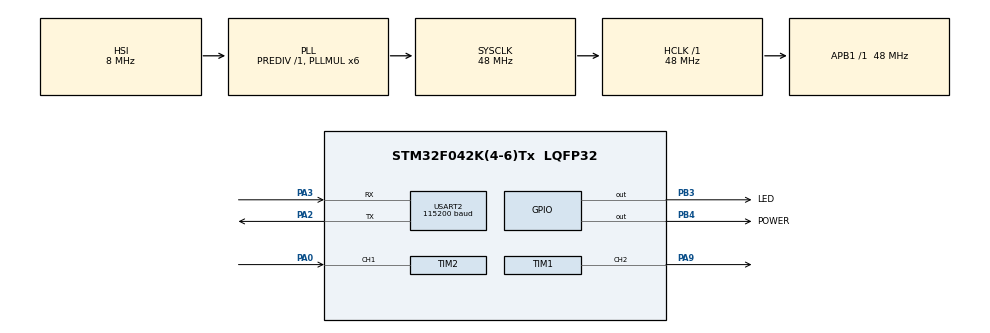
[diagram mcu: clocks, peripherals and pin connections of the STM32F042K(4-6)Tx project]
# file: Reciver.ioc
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Mcu.Family=STM32F0
Mcu.Name=STM32F042K(4-6)Tx
Mcu.Package=LQFP32
NVIC.TIM2_IRQn=true\:0\:0\:false\:false\:true\:true\:true
PA0.Signal=S_TIM2_CH1_ETR
PA2.Mode=Asynchronous
PA2.Signal=USART2_TX
PA3.Mode=Asynchronous
PA3.Signal=USART2_RX
PA9.Signal=S_TIM1_CH2
PB3.GPIO_Label=LED
PB3.PinState=GPIO_PIN_SET
PB3.Signal=GPIO_Output
PB4.GPIO_Label=POWER
PB4.PinState=GPIO_PIN_SET
PB4.Signal=GPIO_Output
ProjectManager.HeapSize=0x200
ProjectManager.StackSize=0x400
ProjectManager.TargetToolchain=STM32CubeIDE
RCC.AHBFreq_Value=48000000
RCC.APB1Freq_Value=48000000
RCC.APB1TimFreq_Value=48000000
RCC.HCLKFreq_Value=48000000
RCC.PLLMUL=RCC_PLL_MUL6
RCC.SYSCLKFreq_VALUE=48000000
RCC.SYSCLKSource=RCC_SYSCLKSOURCE_PLLCLK
SH.S_TIM1_CH2.0=TIM1_CH2,PWM Generation2 CH2
SH.S_TIM2_CH1_ETR.0=TIM2_CH1,Input_Capture1_from_TI1
TIM1.Channel-PWM\ Generation2\ CH2=TIM_CHANNEL_2
TIM1.Prescaler=1-1
TIM16.Prescaler=1-1
TIM2.Channel-Input_Capture1_from_TI1=TIM_CHANNEL_1
TIM2.Channel-Input_Capture2_from_TI1_63=TIM_CHANNEL_2
TIM2.ICPolarity_CH1=TIM_INPUTCHANNELPOLARITY_FALLING
TIM2.Prescaler=1-1
USART2.BaudRate=115200
USART2.VirtualMode-Asynchronous=VM_ASYNC
VP_TIM16_VS_ClockSourceINT.Mode=Enable_Timer
VP_TIM1_VS_ClockSourceINT.Mode=Internal
VP_TIM2_VS_ClockSourceINT.Mode=Internal
VP_TIM2_VS_indirect_ch1.Mode=Input_Capture2_from_TI1_63
board=custom

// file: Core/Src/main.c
/* USER CODE BEGIN Header */
/**
 ******************************************************************************
 * @file           : main.c
 * @brief          : Main program body
 ******************************************************************************
 * @attention
 *
 * Copyright (c) 2022 STMicroelectronics.
 * All rights reserved.
 *
 * This software is licensed under terms that can be found in the LICENSE file
 * in the root directory of this software component.
 * If no LICENSE file comes with this software, it is provided AS-IS.
 *
 ******************************************************************************
 */
/* USER CODE END Header */
#include "main.h"

/* USER CODE BEGIN Includes */
#include <stdlib.h>
#include <string.h>
#include <stdio.h>

/* USER CODE END Includes */

/* USER CODE BEGIN PTD */
#define T 5000
#define COUNTER 5000
#define SYN 22
#define ACK 6

/* USER CODE END PTD */

TIM_HandleTypeDef htim1;
TIM_HandleTypeDef htim2;
TIM_HandleTypeDef htim16;

UART_HandleTypeDef huart2;

/* USER CODE BEGIN PV */

/*
 * <------------------ RECEIVER CODE ------------------------->
 */

void output(char *string) {
	char *buf = string;
	HAL_UART_Transmit(&huart2, buf, strlen(buf), 100);
}

/* ---------------to do list---------------
 * write else in capture callback
 * check working of algorithm on high speed ?????
 * check all kind of signals
 * 		- Long IDEL 3.3V +++
 * 		- Long IDEL 0V +++++
 * 		- rising from 0V without information (turning PWM transiver on) ++++
 * 		- falling down to zero (turning off transiver) ++++
 *		- etc
 * make code better &??
 * create byte LED
 * ---------------------------------------
 */

// use in CaptureCallback, PeriodElepsed and other functions
int callback_count = 0;
int bit_count = 0;
int *bit;
int connection = 0;

/* main function of device
 *
 * catch changing state of PWM channel
 * check period of signal to avoid interferences (should write else)
 * write rising times in bit array
 */
void HAL_TIM_IC_CaptureCallback(TIM_HandleTypeDef *htim) {
	if (htim == &htim2) {
		int falling_edge = 0;
		int rising_edge = 0;
//		output("From callback\r\n");
//		char buf[128] = { 0 };

		callback_count += 1;

		falling_edge = HAL_TIM_ReadCapturedValue(&htim2, TIM_CHANNEL_1);
		rising_edge = HAL_TIM_ReadCapturedValue(&htim2, TIM_CHANNEL_2);
//		sprintf(buf, "r - %d f - %d c - %d\r\n", rising_edge, falling_edge, callback_count);
//		HAL_UART_Transmit(&huart2, &buf, strlen(buf), -1);
		if (callback_count % 2 != 0 && callback_count != 1) {
			int period = rising_edge + falling_edge;
			if (period < T * 1.05 && period > T * 0.95) { // 10% gap for period
//				sprintf(buf, "r - %d\r\n", rising_edge);
//				HAL_UART_Transmit(&huart2, &buf, strlen(buf), -1);
				bit[bit_count] = rising_edge;
			}
			bit_count += 1;
		}

		TIM2->CNT = 0;
		TIM16->CNT = 0;

	}
}

void display_pwm_information(int *bit);
void start_finish_connection(void);

/*
 * function catch IDEL signal
 * IDEL signal then there is one period without capture callback
 * Use for reading last bit in signal
 *
 * AND display letter to user by display_pwm_information()
 *
 * 3 types of IDEL
 *
 * IDEL after catching 8 bit
 * function display letter
 *
 * IDEL after less 8 bit
 * function display error message
 *
 * IDEL without catching any bit
 * Timer run function every period with or without information
 * function do nothing in this case
 */
void HAL_TIM_PeriodElapsedCallback(TIM_HandleTypeDef *htim) {
	if (htim == &htim2) { // reading last bite of byte
		if (bit_count == 7 && callback_count > 1) {

//			sprintf(buf, "r - %d\r\n", HAL_TIM_ReadCapturedValue(&htim2, TIM_CHANNEL_2));
//			HAL_UART_Transmit(&huart2, &buf, strlen(buf), -1);

			bit[bit_count] = HAL_TIM_ReadCapturedValue(&htim2, TIM_CHANNEL_2);
			display_pwm_information(bit);

			bit_count = 0;
			callback_count = 0;
//			connection = 1;
		} else if (callback_count > 1 && bit_count < 7) { // when caught less then 8 bit before IDEL give message about lost byte
			output("#LOST BYTE#");
			if (callback_count % 2 != 0) {
//				start_finish_connection();
				bit_count = 0;
				callback_count = 0;
				connection = 0;
				output(" # Disconnect");
			} else {
//				connection = 1;
				bit_count = 0;
				callback_count = 0;
			}
		} else if (callback_count == 1) { // turning on/off transiver state of channel change 0V -> 3.3V / 3.3V -> 0V
//			start_finish_connection();
			if (connection == 1) {
				output(" # Disconnection\r\n");
				connection = 0;
			}
			bit_count = 0;
			callback_count = 0;
		} else
			// TIM run function every period ending
			return;
//		char buf[64] = { 0 };
//		sprintf(buf, "End of byte\r\n\r\n");
//		HAL_UART_Transmit(&huart2, &buf, strlen(buf), -1);
	}
}

/* function check on/off channel state and show user information
 * about connection or disconnection transiver
 */

//void start_finish_connection(void) {
//	bit_count = 0;
//	callback_count = 0;
//	if (connection == 0) { // transiver connected
//		char message[] = "\r\nConnected. Ready for recive.\r\n";
//		HAL_UART_Transmit(&huart2, &message, strlen(message), -1);
//		connection = 1;
//	} else { // transiver disconnected
//		char message[] = "\r\nDisconected. Bye.\r\n";
//		HAL_UART_Transmit(&huart2, &message, strlen(message), -1);
//		connection = 0;
//	}
//}

char rises_to_char(int*);

/* function display information from pwm signal to user with UART
 *
 * receives int array contain 8 rising times
 * convert rising times to char and display it
 *
 */
void display_pwm_information(int *bit) {
//	output("kek\r\n");
	char ch = rises_to_char(bit);
//	char buf[32] = { 0 };
//	sprintf(buf, " %d\r\n", ch);
//	HAL_UART_Transmit(&huart2, buf, strlen(buf), -1);
	if (ch == SYN) {
		output(" - Start connection...\r\n");
		connect();
		return;
	} else if (ch == ACK && connection == -1) {
		output(" - Device connected successfully\r\n");
		return;
		connection = 1;
	}
	HAL_UART_Transmit(&huart2, (uint8_t*) &ch, 1, -1);
}

/* function return char from 8 rising times array
 * bit - pointer to 8 rising times array contain 8 bits
 * If rising time more then 50% period then this is a 1, else 0
 */
char rises_to_char(int *bit) {
	char c = 0;
	for (int i = 0, rank = 128; i < 8 && rank > 0; i++, rank /= 2) {
		if (bit[i] > T * 0.5)
			c += rank;
	}
	return c;
}

//<------------------- END RECEIVER CODE ------------------->

//<------------------- TRANCIVER CODE ---------------------->

void togglepin(uint8_t value);
void delay(int delay);

void connect(void) {

//	turning off receiver timers
	HAL_TIM_IC_Stop_IT(&htim2, TIM_CHANNEL_1);
	HAL_TIM_IC_Stop_IT(&htim2, TIM_CHANNEL_2);
	delay(10 * T);
//	turning on tranceiver timers
	TIM1->ARR = COUNTER;
	TIM1->CCR2 = COUNTER + 1;
	HAL_TIM_PWM_Start(&htim1, TIM_CHANNEL_2);

	delay(10 * T);
	dec_to_bin(SYN);
	dec_to_bin(ACK);
	delay(10 * T);
//	turning off tranceiver timers
	HAL_TIM_PWM_Stop(&htim1, TIM_CHANNEL_2);
//	turning on receiver timers
	HAL_TIM_IC_Start_IT(&htim2, TIM_CHANNEL_1);
	HAL_TIM_IC_Start_IT(&htim2, TIM_CHANNEL_2);

	delay(10 * T);
	output(" - Wait\r\n");
	connection = -1;
}

void dec_to_bin(char ch) {
	for (char div = 128; div > 0; div /= 2) {
		if (ch >= div) {    // 1
			ch -= div;
			togglepin(1);
//			output("1\r\n");
		} else {
			togglepin(0);
//			output("0\r\n");
		}
	}
	delay(T);
}

void togglepin(uint8_t value) {
	//	turning off pin
	TIM1->CCR2 = 0;
	TIM1->CNT = COUNTER;
	if (value == 1) {
		delay(T * 0.8);
		//	turning on pin
		TIM1->CCR2 = COUNTER + 1;
		TIM1->CNT = COUNTER;
		delay(T * 0.2);
	} else if (value == 0) {
		delay(T * 0.2);
		//	turning on pin
		TIM1->CCR2 = COUNTER + 1;
		TIM1->CNT = COUNTER;
		delay(T * 0.8);
	} else
		return;
}

//<------------------- END TRANCIVER CODE ------------------>

// function provides delay (in 20 nanoseconds)
void delay(int delay) {
	if (delay > 0xFFFF)
		delay = 0xFFFF;
	(&htim16)->Instance->CNT = 0;
	while ((&htim16)->Instance->CNT < delay)
		;
}

/* USER CODE END PV */

void SystemClock_Config(void);
static void MX_GPIO_Init(void);
static void MX_USART2_UART_Init(void);
static void MX_TIM2_Init(void);
static void MX_TIM16_Init(void);
static void MX_TIM1_Init(void);

int main(void) {

	/* MCU Configuration--------------------------------------------------------*/

	/* Reset of all peripherals, Initializes the Flash interface and the Systick. */
	HAL_Init();

	/* Configure the system clock */
	SystemClock_Config();

	/* Initialize all configured peripherals */
	MX_GPIO_Init();
	MX_USART2_UART_Init();
	MX_TIM2_Init();
	MX_TIM16_Init();
	MX_TIM1_Init();
	/* USER CODE BEGIN 2 */
	//	timer for read values
	TIM2->ARR = T;
	HAL_TIM_IC_Start_IT(&htim2, TIM_CHANNEL_1);
	HAL_TIM_IC_Start_IT(&htim2, TIM_CHANNEL_2);

	// start TIM2 again to catch IDEL after empty period
	HAL_TIM_Base_Start_IT(&htim2);

	// Timer for calculating delays in micro or nano seconds
	HAL_TIM_Base_Start_IT(&htim16);

	/* USER CODE END 2 */

	/* Infinite loop */
	/* USER CODE BEGIN WHILE */

////	char input[128] = { 0 };
	output("Still working\r\n");
	bit = calloc(8, sizeof(int));
	if (bit == NULL) {
		char exit[] = "Memory end\r\n";
		HAL_UART_Transmit(&huart2, (uint8_t*) exit, strlen(exit), -1);
		return 1;
	}
	connection = 0;

	while (1) {
//		HAL_UART_Transmit(&huart2, &mesedge, strlen(mesedge), -1);
//		HAL_Delay(1000);

// delay for finding idel after transmission
//		delay(2 * T);
//		// after catching idel write last rising edge to bit array
//		if (TIM16->CNT > 2 * T)
//			bin[7] = rising_edge;
//		ch = bin_to_char(bin);
//		HAL_UART_Transmit(&huart2, (uint8_t*) &ch, 1, -1);
		/* USER CODE END WHILE */

	}
}

void SystemClock_Config(void) {
	RCC_OscInitTypeDef RCC_OscInitStruct = { 0 };
	RCC_ClkInitTypeDef RCC_ClkInitStruct = { 0 };

	/** Initializes the RCC Oscillators according to the specified parameters
	 * in the RCC_OscInitTypeDef structure.
	 */
	RCC_OscInitStruct.OscillatorType = RCC_OSCILLATORTYPE_HSI;
	RCC_OscInitStruct.HSIState = RCC_HSI_ON;
	RCC_OscInitStruct.HSICalibrationValue = RCC_HSICALIBRATION_DEFAULT;
	RCC_OscInitStruct.PLL.PLLState = RCC_PLL_ON;
	RCC_OscInitStruct.PLL.PLLSource = RCC_PLLSOURCE_HSI;
	RCC_OscInitStruct.PLL.PLLMUL = RCC_PLL_MUL6;
	RCC_OscInitStruct.PLL.PREDIV = RCC_PREDIV_DIV1;
	if (HAL_RCC_OscConfig(&RCC_OscInitStruct) != HAL_OK) {
		Error_Handler();
	}
	/** Initializes the CPU, AHB and APB buses clocks
	 */
	RCC_ClkInitStruct.ClockType = RCC_CLOCKTYPE_HCLK | RCC_CLOCKTYPE_SYSCLK
			| RCC_CLOCKTYPE_PCLK1;
	RCC_ClkInitStruct.SYSCLKSource = RCC_SYSCLKSOURCE_PLLCLK;
	RCC_ClkInitStruct.AHBCLKDivider = RCC_SYSCLK_DIV1;
	RCC_ClkInitStruct.APB1CLKDivider = RCC_HCLK_DIV1;

	if (HAL_RCC_ClockConfig(&RCC_ClkInitStruct, FLASH_LATENCY_1) != HAL_OK) {
		Error_Handler();
	}
}

static void MX_TIM1_Init(void) {

	TIM_ClockConfigTypeDef sClockSourceConfig = { 0 };
	TIM_MasterConfigTypeDef sMasterConfig = { 0 };
	TIM_OC_InitTypeDef sConfigOC = { 0 };
	TIM_BreakDeadTimeConfigTypeDef sBreakDeadTimeConfig = { 0 };

	htim1.Instance = TIM1;
	htim1.Init.Prescaler = 12 - 1;
	htim1.Init.CounterMode = TIM_COUNTERMODE_UP;
	htim1.Init.Period = 65535;
	htim1.Init.ClockDivision = TIM_CLOCKDIVISION_DIV1;
	htim1.Init.RepetitionCounter = 0;
	htim1.Init.AutoReloadPreload = TIM_AUTORELOAD_PRELOAD_DISABLE;
	if (HAL_TIM_Base_Init(&htim1) != HAL_OK) {
		Error_Handler();
	}
	sClockSourceConfig.ClockSource = TIM_CLOCKSOURCE_INTERNAL;
	if (HAL_TIM_ConfigClockSource(&htim1, &sClockSourceConfig) != HAL_OK) {
		Error_Handler();
	}
	if (HAL_TIM_PWM_Init(&htim1) != HAL_OK) {
		Error_Handler();
	}
	sMasterConfig.MasterOutputTrigger = TIM_TRGO_RESET;
	sMasterConfig.MasterSlaveMode = TIM_MASTERSLAVEMODE_DISABLE;
	if (HAL_TIMEx_MasterConfigSynchronization(&htim1, &sMasterConfig)
			!= HAL_OK) {
		Error_Handler();
	}
	sConfigOC.OCMode = TIM_OCMODE_PWM1;
	sConfigOC.Pulse = 0;
	sConfigOC.OCPolarity = TIM_OCPOLARITY_HIGH;
	sConfigOC.OCNPolarity = TIM_OCNPOLARITY_HIGH;
	sConfigOC.OCFastMode = TIM_OCFAST_DISABLE;
	sConfigOC.OCIdleState = TIM_OCIDLESTATE_RESET;
	sConfigOC.OCNIdleState = TIM_OCNIDLESTATE_RESET;
	if (HAL_TIM_PWM_ConfigChannel(&htim1, &sConfigOC, TIM_CHANNEL_2)
			!= HAL_OK) {
		Error_Handler();
	}
	sBreakDeadTimeConfig.OffStateRunMode = TIM_OSSR_DISABLE;
	sBreakDeadTimeConfig.OffStateIDLEMode = TIM_OSSI_DISABLE;
	sBreakDeadTimeConfig.LockLevel = TIM_LOCKLEVEL_OFF;
	sBreakDeadTimeConfig.DeadTime = 0;
	sBreakDeadTimeConfig.BreakState = TIM_BREAK_DISABLE;
	sBreakDeadTimeConfig.BreakPolarity = TIM_BREAKPOLARITY_HIGH;
	sBreakDeadTimeConfig.AutomaticOutput = TIM_AUTOMATICOUTPUT_DISABLE;
	if (HAL_TIMEx_ConfigBreakDeadTime(&htim1, &sBreakDeadTimeConfig)
			!= HAL_OK) {
		Error_Handler();
	}
	HAL_TIM_MspPostInit(&htim1);

}

static void MX_TIM2_Init(void) {

	TIM_ClockConfigTypeDef sClockSourceConfig = { 0 };
	TIM_MasterConfigTypeDef sMasterConfig = { 0 };
	TIM_IC_InitTypeDef sConfigIC = { 0 };

	htim2.Instance = TIM2;
	htim2.Init.Prescaler = 12 - 1;
	htim2.Init.CounterMode = TIM_COUNTERMODE_UP;
	htim2.Init.Period = 4294967295;
	htim2.Init.ClockDivision = TIM_CLOCKDIVISION_DIV1;
	htim2.Init.AutoReloadPreload = TIM_AUTORELOAD_PRELOAD_DISABLE;
	if (HAL_TIM_Base_Init(&htim2) != HAL_OK) {
		Error_Handler();
	}
	sClockSourceConfig.ClockSource = TIM_CLOCKSOURCE_INTERNAL;
	if (HAL_TIM_ConfigClockSource(&htim2, &sClockSourceConfig) != HAL_OK) {
		Error_Handler();
	}
	if (HAL_TIM_IC_Init(&htim2) != HAL_OK) {
		Error_Handler();
	}
	sMasterConfig.MasterOutputTrigger = TIM_TRGO_RESET;
	sMasterConfig.MasterSlaveMode = TIM_MASTERSLAVEMODE_DISABLE;
	if (HAL_TIMEx_MasterConfigSynchronization(&htim2, &sMasterConfig)
			!= HAL_OK) {
		Error_Handler();
	}
	sConfigIC.ICPolarity = TIM_INPUTCHANNELPOLARITY_FALLING;
	sConfigIC.ICSelection = TIM_ICSELECTION_DIRECTTI;
	sConfigIC.ICPrescaler = TIM_ICPSC_DIV1;
	sConfigIC.ICFilter = 0;
	if (HAL_TIM_IC_ConfigChannel(&htim2, &sConfigIC, TIM_CHANNEL_1) != HAL_OK) {
		Error_Handler();
	}
	sConfigIC.ICPolarity = TIM_INPUTCHANNELPOLARITY_RISING;
	sConfigIC.ICSelection = TIM_ICSELECTION_INDIRECTTI;
	if (HAL_TIM_IC_ConfigChannel(&htim2, &sConfigIC, TIM_CHANNEL_2) != HAL_OK) {
		Error_Handler();
	}

}

static void MX_TIM16_Init(void) {

	htim16.Instance = TIM16;
	htim16.Init.Prescaler = 12 - 1;
	htim16.Init.CounterMode = TIM_COUNTERMODE_UP;
	htim16.Init.Period = 65535;
	htim16.Init.ClockDivision = TIM_CLOCKDIVISION_DIV1;
	htim16.Init.RepetitionCounter = 0;
	htim16.Init.AutoReloadPreload = TIM_AUTORELOAD_PRELOAD_DISABLE;
	if (HAL_TIM_Base_Init(&htim16) != HAL_OK) {
		Error_Handler();
	}

}

static void MX_USART2_UART_Init(void) {

	huart2.Instance = USART2;
	huart2.Init.BaudRate = 115200;
	huart2.Init.WordLength = UART_WORDLENGTH_8B;
	huart2.Init.StopBits = UART_STOPBITS_1;
	huart2.Init.Parity = UART_PARITY_NONE;
	huart2.Init.Mode = UART_MODE_TX_RX;
	huart2.Init.HwFlowCtl = UART_HWCONTROL_NONE;
	huart2.Init.OverSampling = UART_OVERSAMPLING_16;
	huart2.Init.OneBitSampling = UART_ONE_BIT_SAMPLE_DISABLE;
	huart2.AdvancedInit.AdvFeatureInit = UART_ADVFEATURE_NO_INIT;
	if (HAL_UART_Init(&huart2) != HAL_OK) {
		Error_Handler();
	}

}

static void MX_GPIO_Init(void) {
	GPIO_InitTypeDef GPIO_InitStruct = { 0 };

	/* GPIO Ports Clock Enable */
	__HAL_RCC_GPIOA_CLK_ENABLE();
	__HAL_RCC_GPIOB_CLK_ENABLE();

	/*Configure GPIO pin Output Level */
	HAL_GPIO_WritePin(GPIOB, LED_Pin | POWER_Pin, GPIO_PIN_SET);

	/*Configure GPIO pins : LED_Pin POWER_Pin */
	GPIO_InitStruct.Pin = LED_Pin | POWER_Pin;
	GPIO_InitStruct.Mode = GPIO_MODE_OUTPUT_PP;
	GPIO_InitStruct.Pull = GPIO_NOPULL;
	GPIO_InitStruct.Speed = GPIO_SPEED_FREQ_LOW;
	HAL_GPIO_Init(GPIOB, &GPIO_InitStruct);

}

void Error_Handler(void) {
	__disable_irq();
	while (1) {
	}
}
